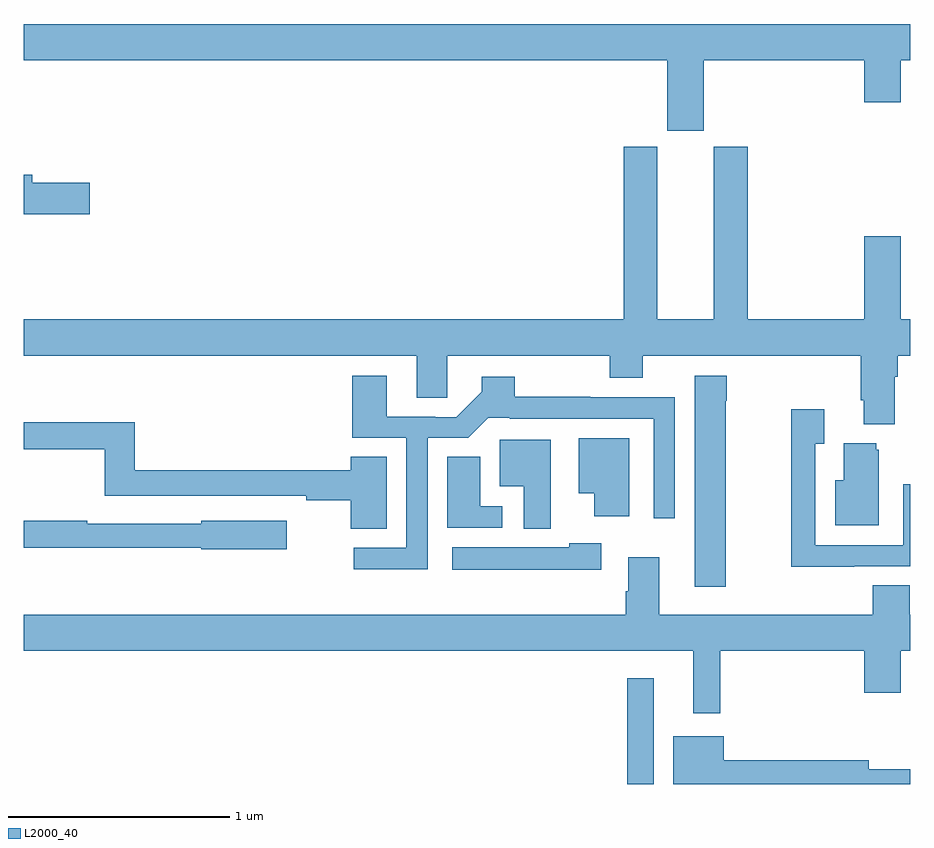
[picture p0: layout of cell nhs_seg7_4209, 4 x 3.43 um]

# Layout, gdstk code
import gdstk
lib = gdstk.Library(unit=1e-6, precision=1e-09)
def R(c, l, rs):  # rectangles x0, y0, x1, y1
    for r in rs: c.add(gdstk.rectangle(r[:2], r[2:], *l))
def P(c, l, *ps):  # polygons
    for p in ps: c.add(gdstk.Polygon(p, *l))
L2000_40 = (2000, 40)

nhs_seg7_4209 = lib.new_cell('nhs_seg7_4209')
R(nhs_seg7_4209, L2000_40, [(379.722,1016,379.843,1016.476)])
P(nhs_seg7_4209, L2000_40, [(380.068,1019.264),(380.792,1019.264),(380.792,1019.076),(380.956,1019.076),(380.956,1019.264),(381,1019.264),(381,1019.428),(377,1019.428),(377,1019.264),(379.904,1019.264),(379.904,1018.947),(380.068,1018.947)],
  [(380.929,1017.836),(380.942,1017.836),(380.942,1017.932),(381,1017.932),(381,1018.096),(380.956,1018.096),(380.956,1018.471),(380.792,1018.471),(380.792,1018.096),(380.267,1018.096),(380.267,1018.875),(380.114,1018.875),(380.114,1018.096),(379.858,1018.096),(379.858,1018.875),(379.706,1018.875),(379.706,1018.096),(377,1018.096),(377,1017.932),(378.773,1017.932),(378.773,1017.742),(378.912,1017.742),(378.912,1017.932),(379.645,1017.932),(379.645,1017.833),(379.792,1017.833),(379.792,1017.932),(380.777,1017.932),(380.777,1017.73),(380.789,1017.73),(380.789,1017.623),(380.929,1017.623)],
  [(377.299,1018.712),(377.038,1018.712),(377.038,1018.748),(377,1018.748),(377,1018.57),(377.299,1018.57)],
  [(378.822,1017.561),(379.006,1017.561),(379.096,1017.651),(379.192,1017.651),(379.192,1017.648),(379.842,1017.648),(379.842,1017.198),(379.938,1017.198),(379.938,1017.744),(379.556,1017.744),(379.556,1017.746),(379.215,1017.746),(379.215,1017.838),(379.067,1017.838),(379.067,1017.77),(378.951,1017.654),(378.857,1017.654),(378.857,1017.657),(378.637,1017.657),(378.637,1017.841),(378.482,1017.841),(378.482,1017.561),(378.726,1017.561),(378.726,1017.066),(378.489,1017.066),(378.489,1016.969),(378.822,1016.969)],
  [(380.166,1017.728),(380.171,1017.728),(380.171,1017.841),(380.027,1017.841),(380.027,1016.889),(380.166,1016.889)],
  [(380.747,1016.982),(381,1016.982),(381,1017.352),(380.967,1017.352),(380.967,1017.078),(380.571,1017.078),(380.571,1017.535),(380.611,1017.535),(380.611,1017.691),(380.463,1017.691),(380.463,1016.981),(380.747,1016.981)],
  [(378.637,1017.476),(378.476,1017.476),(378.476,1017.416),(377.501,1017.416),(377.501,1017.631),(377,1017.631),(377,1017.51),(377.365,1017.51),(377.365,1017.3),(378.274,1017.3),(378.274,1017.28),(378.476,1017.28),(378.476,1017.151),(378.637,1017.151)],
  [(379.732,1017.559),(379.505,1017.559),(379.505,1017.311),(379.574,1017.311),(379.574,1017.207),(379.732,1017.207)],
  [(379.378,1017.553),(379.148,1017.553),(379.148,1017.344),(379.256,1017.344),(379.256,1017.152),(379.378,1017.152)],
  [(380.857,1017.507),(380.846,1017.507),(380.846,1017.538),(380.699,1017.538),(380.699,1017.37),(380.66,1017.37),(380.66,1017.167),(380.857,1017.167)],
  [(379.159,1017.252),(379.06,1017.252),(379.06,1017.476),(378.911,1017.476),(378.911,1017.156),(379.159,1017.156)],
  [(378.187,1017.187),(377.802,1017.187),(377.802,1017.174),(377.288,1017.174),(377.288,1017.187),(377,1017.187),(377,1017.066),(377.802,1017.066),(377.802,1017.058),(378.187,1017.058)],
  [(379.606,1017.085),(379.461,1017.085),(379.461,1017.067),(378.933,1017.067),(378.933,1016.966),(379.606,1016.966)],
  [(380.143,1016.6),(380.792,1016.6),(380.792,1016.412),(380.956,1016.412),(380.956,1016.6),(381,1016.6),(381,1016.764),(380.996,1016.764),(380.996,1016.897),(380.831,1016.897),(380.831,1016.764),(379.867,1016.764),(379.867,1017.022),(379.727,1017.022),(379.727,1016.87),(379.715,1016.87),(379.715,1016.764),(377,1016.764),(377,1016.6),(380.021,1016.6),(380.021,1016.319),(380.143,1016.319)],
  [(381,1016.067),(380.812,1016.067),(380.812,1016.108),(380.158,1016.108),(380.158,1016.215),(379.931,1016.215),(379.931,1016),(381,1016)])

lib.write_gds('nhs_seg7_4209.gds')
